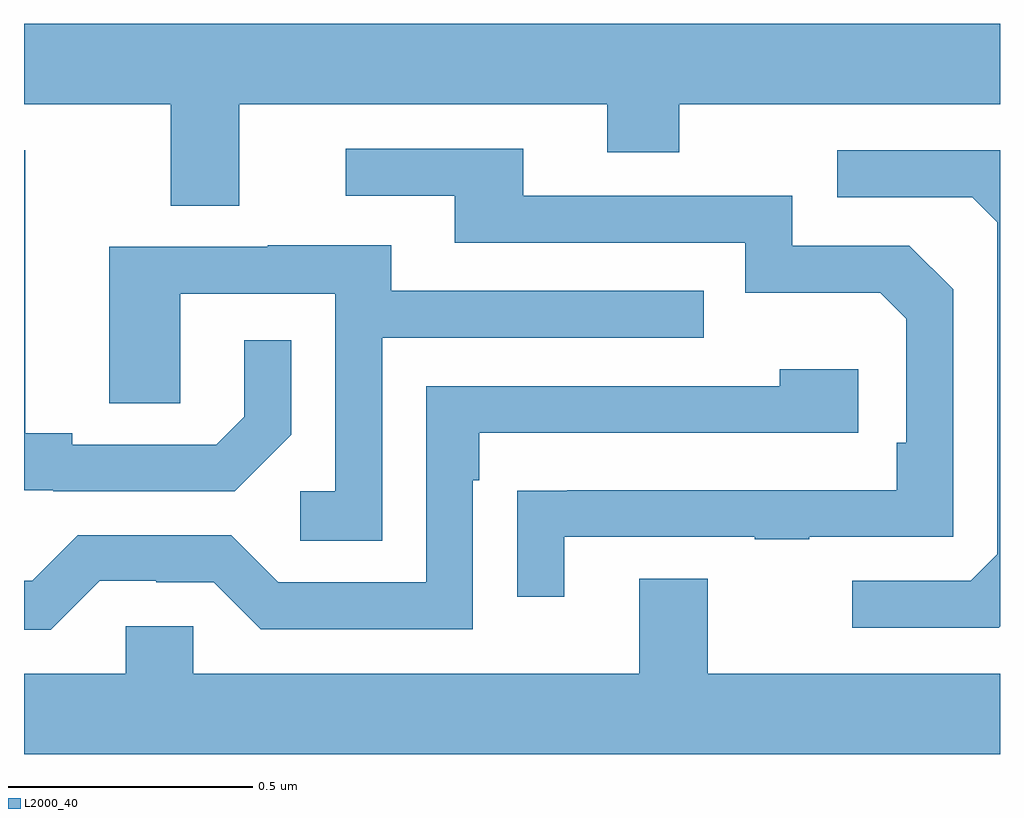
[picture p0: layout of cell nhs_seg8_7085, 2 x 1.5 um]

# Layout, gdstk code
import gdstk
lib = gdstk.Library(unit=1e-6, precision=1e-09)
def P(c, l, *ps):  # polygons
    for p in ps: c.add(gdstk.Polygon(p, *l))
L2000_40 = (2000, 40)

nhs_seg8_7085 = lib.new_cell('nhs_seg8_7085')
P(nhs_seg8_7085, L2000_40, [(205.441,1136.48),(206.195,1136.48),(206.195,1136.381),(206.343,1136.381),(206.343,1136.48),(207,1136.48),(207,1136.644),(205,1136.644),(205,1136.48),(205.301,1136.48),(205.301,1136.272),(205.441,1136.272)],
  [(206.107,1135.593),(206.497,1135.593),(206.497,1135.588),(206.609,1135.588),(206.609,1135.593),(206.904,1135.593),(206.904,1136.1),(206.814,1136.19),(206.574,1136.19),(206.574,1136.292),(206.023,1136.292),(206.023,1136.388),(205.659,1136.388),(205.659,1136.292),(205.883,1136.292),(205.883,1136.196),(206.478,1136.196),(206.478,1136.093),(206.755,1136.093),(206.808,1136.04),(206.808,1135.786),(206.788,1135.786),(206.788,1135.689),(206.113,1135.689),(206.113,1135.688),(206.011,1135.688),(206.011,1135.47),(206.107,1135.47)],
  [(207,1135.41),(207,1136.385),(206.667,1136.385),(206.667,1136.289),(206.943,1136.289),(206.994,1136.238),(206.994,1135.557),(206.94,1135.503),(206.697,1135.503),(206.697,1135.407),(206.997,1135.407)],
  [(205.548,1135.802),(205.548,1135.996),(205.451,1135.996),(205.451,1135.839),(205.394,1135.782),(205.099,1135.782),(205.099,1135.805),(205.003,1135.805),(205.003,1136.385),(205,1136.385),(205,1135.689),(205.06,1135.689),(205.06,1135.686),(205.432,1135.686)],
  [(205.734,1136.001),(206.393,1136.001),(206.393,1136.097),(205.753,1136.097),(205.753,1136.191),(205.499,1136.191),(205.499,1136.187),(205.175,1136.187),(205.175,1135.867),(205.32,1135.867),(205.32,1136.091),(205.638,1136.091),(205.638,1135.686),(205.566,1135.686),(205.566,1135.585),(205.734,1135.585)],
  [(205.155,1135.503),(205.271,1135.503),(205.271,1135.5),(205.389,1135.5),(205.485,1135.404),(205.92,1135.404),(205.92,1135.709),(205.933,1135.709),(205.933,1135.806),(206.71,1135.806),(206.71,1135.936),(206.549,1135.936),(206.549,1135.902),(205.824,1135.902),(205.824,1135.5),(205.521,1135.5),(205.425,1135.596),(205.11,1135.596),(205.017,1135.503),(205,1135.503),(205,1135.403),(205.055,1135.403)],
  [(207,1135.312),(206.401,1135.312),(206.401,1135.507),(206.261,1135.507),(206.261,1135.312),(205.347,1135.312),(205.347,1135.41),(205.209,1135.41),(205.209,1135.312),(205,1135.312),(205,1135.148),(207,1135.148)])

lib.write_gds('nhs_seg8_7085.gds')
